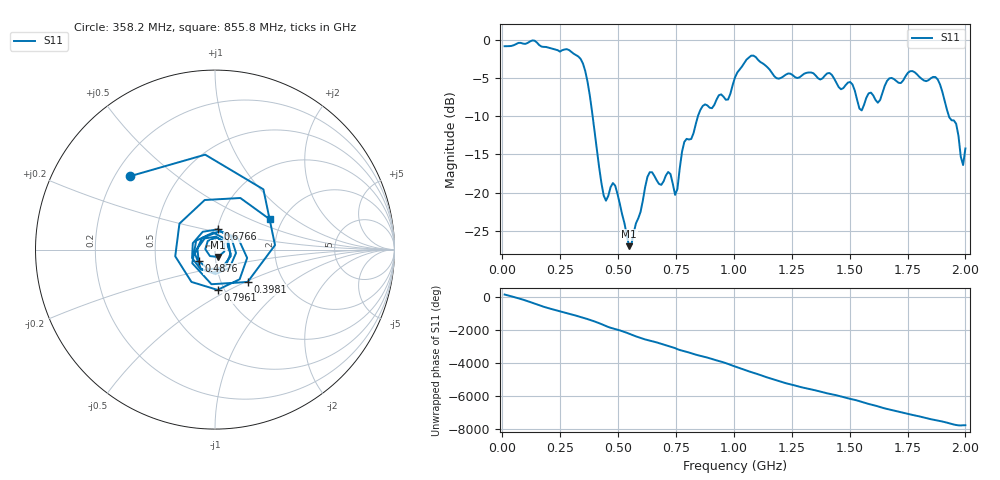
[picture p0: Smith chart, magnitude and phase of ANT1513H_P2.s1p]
!Created with skrf (http://scikit-rf.org).
# Hz S RI R 50.0
!freq ReS11 ImS11
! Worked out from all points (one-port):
!   201 points, 10 MHz to 2 GHz, reference 50 ohm
!   lowest |S11| = -27.0 dB at 547.3 MHz (marker M1), VSWR 1.09, Z = 51.6 - j4.25 ohm
!   |S11| at or under -10 dB: 390.3 MHz to 844.8 MHz (454.5 MHz wide, 73.6 % of centre); 1.929 GHz to end of sweep
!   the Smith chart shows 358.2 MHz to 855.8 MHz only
!   S11 on the Smith chart (normalised r, x): 358.2 MHz: 0.26, +0.35; 398.1 MHz: 1.33, -0.51; 487.6 MHz: 0.83, -0.11; 676.6 MHz: 1.01, +0.23; 796 MHz: 0.93, -0.44; 855.8 MHz: 1.72, +0.66
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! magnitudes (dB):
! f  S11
! 10 MHz  -0.8
! 258.8 MHz  -1.4
! 358.2 MHz  -4.1
! 398.1 MHz  -11.8
! 437.9 MHz  -20.4
! 487.6 MHz  -19.1
! 507.5 MHz  -21.4
! 547.3 MHz  -27.0
! 626.9 MHz  -17.9
! 676.6 MHz  -18.9
! 716.5 MHz  -17.3
! 756.2 MHz  -19.5
! 776.1 MHz  -14.7
! 796 MHz  -13.0
! 855.8 MHz  -9.2
! 975.1 MHz  -7.8
! 1.005 GHz  -4.9
! 1.075 GHz  -2.1
! 1.254 GHz  -4.6
! 1.502 GHz  -5.5
! 1.552 GHz  -9.2
! 1.582 GHz  -7.0
! 1.622 GHz  -8.2
! 1.751 GHz  -4.3
! 1.881 GHz  -5.2
! 1.96 GHz  -11.0
! 1.99 GHz  -16.4
! 2 GHz  -14.2
